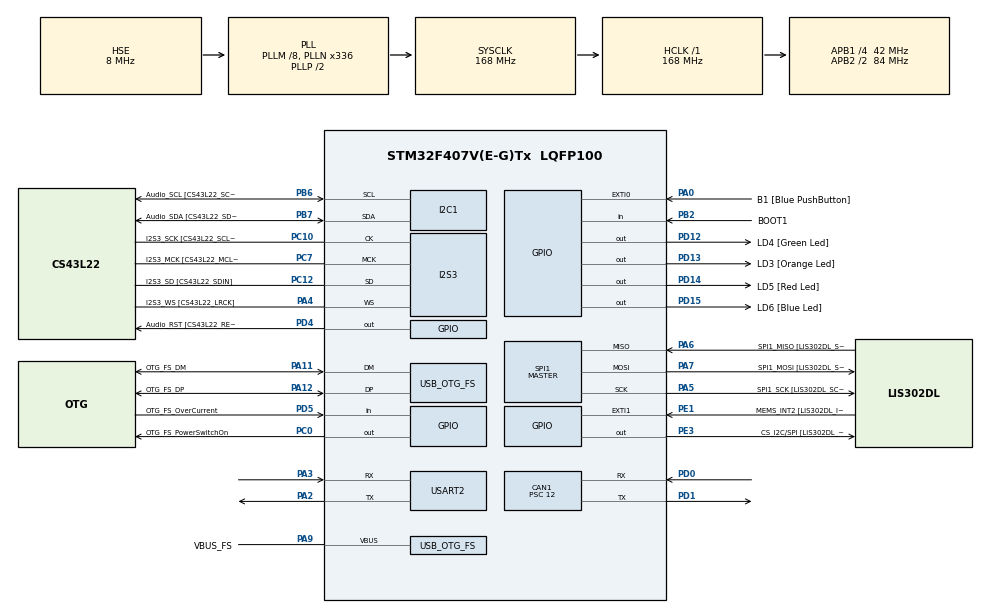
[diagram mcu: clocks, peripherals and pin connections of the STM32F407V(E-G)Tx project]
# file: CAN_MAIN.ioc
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CAN1.BS1=CAN_BS1_11TQ
CAN1.BS2=CAN_BS2_2TQ
CAN1.CalculateBaudRate=250000
CAN1.CalculateTimeBit=4000
CAN1.CalculateTimeQuantum=285.7142857142857
CAN1.Prescaler=12
I2S3.AudioFreq-Half_Duplex_Master=I2S_AUDIOFREQ_96K
I2S3.ErrorAudioFreq=-2.34 %
I2S3.ErrorAudioFreq-Half_Duplex_Master=0.8 %
I2S3.FullDuplexMode=I2S_FULLDUPLEXMODE_DISABLE
I2S3.Instance=SPI$Index
I2S3.RealAudioFreq=93.75 KHz
I2S3.RealAudioFreq-Half_Duplex_Master=96.774 KHz
I2S3.VirtualMode=I2S_MODE_MASTER
Mcu.Family=STM32F4
Mcu.Name=STM32F407V(E-G)Tx
Mcu.Package=LQFP100
NVIC.OTG_FS_IRQn=true\:0\:0\:false\:false\:true\:true\:true\:true
NVIC.PriorityGroup=NVIC_PRIORITYGROUP_0
PA0-WKUP.GPIO_Label=B1 [Blue PushButton]
PA0-WKUP.GPIO_ModeDefaultEXTI=GPIO_MODE_EVT_RISING
PA0-WKUP.GPIO_PuPd=GPIO_NOPULL
PA0-WKUP.Signal=GPXTI0
PA10.GPIO_Label=OTG_FS_ID
PA10.GPIO_Mode=GPIO_MODE_AF_PP
PA10.GPIO_PuPd=GPIO_NOPULL
PA10.GPIO_Speed=GPIO_SPEED_FREQ_LOW
PA10.Signal=USB_OTG_FS_ID
PA11.GPIO_Label=OTG_FS_DM
PA11.GPIO_Mode=GPIO_MODE_AF_PP
PA11.GPIO_PuPd=GPIO_NOPULL
PA11.GPIO_Speed=GPIO_SPEED_FREQ_LOW
PA11.Mode=Host_Only
PA11.Signal=USB_OTG_FS_DM
PA12.GPIO_Label=OTG_FS_DP
PA12.GPIO_Mode=GPIO_MODE_AF_PP
PA12.GPIO_PuPd=GPIO_NOPULL
PA12.GPIO_Speed=GPIO_SPEED_FREQ_LOW
PA12.Mode=Host_Only
PA12.Signal=USB_OTG_FS_DP
PA13.GPIO_Label=SWDIO
PA13.Mode=Serial_Wire
PA13.Signal=SYS_JTMS-SWDIO
PA14.GPIO_Label=SWCLK
PA14.Mode=Serial_Wire
PA14.Signal=SYS_JTCK-SWCLK
PA2.Mode=Asynchronous
PA2.Signal=USART2_TX
PA3.Mode=Asynchronous
PA3.Signal=USART2_RX
PA4.GPIO_Label=I2S3_WS [CS43L22_LRCK]
PA4.GPIO_Mode=GPIO_MODE_AF_PP
PA4.GPIO_PuPd=GPIO_NOPULL
PA4.GPIO_Speed=GPIO_SPEED_FREQ_LOW
PA4.Mode=Half_Duplex_Master
PA4.Signal=I2S3_WS
PA5.GPIO_Label=SPI1_SCK [LIS302DL_SCL/SPC]
PA5.GPIO_Mode=GPIO_MODE_AF_PP
PA5.GPIO_PuPd=GPIO_NOPULL
PA5.GPIO_Speed=GPIO_SPEED_FREQ_LOW
PA5.Mode=Full_Duplex_Master
PA5.Signal=SPI1_SCK
PA6.GPIO_Label=SPI1_MISO [LIS302DL_SDO]
PA6.GPIO_Mode=GPIO_MODE_AF_PP
PA6.GPIO_PuPd=GPIO_NOPULL
PA6.GPIO_Speed=GPIO_SPEED_FREQ_LOW
PA6.Mode=Full_Duplex_Master
PA6.Signal=SPI1_MISO
PA7.GPIO_Label=SPI1_MOSI [LIS302DL_SDA/SDI/SDO]
PA7.GPIO_Mode=GPIO_MODE_AF_PP
PA7.GPIO_PuPd=GPIO_NOPULL
PA7.GPIO_Speed=GPIO_SPEED_FREQ_LOW
PA7.Mode=Full_Duplex_Master
PA7.Signal=SPI1_MOSI
PA9.GPIO_Label=VBUS_FS
PA9.GPIO_Mode=GPIO_MODE_INPUT
PA9.GPIO_PuPd=GPIO_NOPULL
PA9.Mode=Activate_VBUS
PA9.Signal=USB_OTG_FS_VBUS
PB10.GPIO_Label=CLK_IN [MP45DT02_CLK]
PB10.GPIO_Mode=GPIO_MODE_AF_PP
PB10.GPIO_PuPd=GPIO_NOPULL
PB10.GPIO_Speed=GPIO_SPEED_FREQ_LOW
PB10.Signal=I2S2_CK
PB2.GPIO_Label=BOOT1
PB2.GPIO_Mode=GPIO_MODE_INPUT
PB2.GPIO_PuPd=GPIO_NOPULL
PB2.Signal=GPIO_Input
PB3.GPIO_Label=SWO
PB3.Signal=SYS_JTDO-SWO
PB6.GPIO_Label=Audio_SCL [CS43L22_SCL]
PB6.GPIO_Mode=GPIO_MODE_AF_OD
PB6.GPIO_Pu=GPIO_PULLUP
PB6.GPIO_PuPd=GPIO_NOPULL
PB6.GPIO_Speed=GPIO_SPEED_FREQ_LOW
PB6.Mode=I2C
PB6.Signal=I2C1_SCL
PB7.GPIO_Label=Audio_SDA [CS43L22_SDA]
PB7.GPIO_Mode=GPIO_MODE_AF_OD
PB7.GPIO_Pu=GPIO_PULLUP
PB7.GPIO_Speed=GPIO_SPEED_FREQ_LOW
PB7.Mode=I2C
PB7.Signal=I2C1_SDA
PC0.GPIO_Label=OTG_FS_PowerSwitchOn
PC0.GPIO_PuPd=GPIO_NOPULL
PC0.GPIO_Speed=GPIO_SPEED_FREQ_LOW
PC0.PinState=GPIO_PIN_SET
PC0.Signal=GPIO_Output
PC10.GPIO_Label=I2S3_SCK [CS43L22_SCLK]
PC10.GPIO_Mode=GPIO_MODE_AF_PP
PC10.GPIO_PuPd=GPIO_NOPULL
PC10.GPIO_Speed=GPIO_SPEED_FREQ_LOW
PC10.Mode=Half_Duplex_Master
PC10.Signal=I2S3_CK
PC12.GPIO_Label=I2S3_SD [CS43L22_SDIN]
PC12.GPIO_Mode=GPIO_MODE_AF_PP
PC12.GPIO_PuPd=GPIO_NOPULL
PC12.GPIO_Speed=GPIO_SPEED_FREQ_LOW
PC12.Mode=Half_Duplex_Master
PC12.Signal=I2S3_SD
PC14-OSC32_IN.GPIO_Label=PC14-OSC32_IN
PC14-OSC32_IN.Mode=LSE-External-Oscillator
PC14-OSC32_IN.Signal=RCC_OSC32_IN
PC15-OSC32_OUT.GPIO_Label=PC15-OSC32_OUT
PC15-OSC32_OUT.Mode=LSE-External-Oscillator
PC15-OSC32_OUT.Signal=RCC_OSC32_OUT
PC3.GPIO_Label=PDM_OUT [MP45DT02_DOUT]
PC3.GPIO_Mode=GPIO_MODE_AF_PP
PC3.GPIO_PuPd=GPIO_NOPULL
PC3.GPIO_Speed=GPIO_SPEED_FREQ_LOW
PC3.Signal=I2S2_SD
PC7.GPIO_Label=I2S3_MCK [CS43L22_MCLK]
PC7.GPIO_Mode=GPIO_MODE_AF_PP
PC7.GPIO_PuPd=GPIO_NOPULL
PC7.GPIO_Speed=GPIO_SPEED_FREQ_LOW
PC7.Mode=Master_Clock_Activated
PC7.Signal=I2S3_MCK
PD0.Mode=CAN_Activate
PD0.Signal=CAN1_RX
PD1.Mode=CAN_Activate
PD1.Signal=CAN1_TX
PD12.GPIO_Label=LD4 [Green Led]
PD12.GPIO_PuPd=GPIO_NOPULL
PD12.GPIO_Speed=GPIO_SPEED_FREQ_LOW
PD12.Signal=GPIO_Output
PD13.GPIO_Label=LD3 [Orange Led]
PD13.GPIO_PuPd=GPIO_NOPULL
PD13.GPIO_Speed=GPIO_SPEED_FREQ_LOW
PD13.Signal=GPIO_Output
PD14.GPIO_Label=LD5 [Red Led]
PD14.GPIO_PuPd=GPIO_NOPULL
PD14.GPIO_Speed=GPIO_SPEED_FREQ_LOW
PD14.Signal=GPIO_Output
PD15.GPIO_Label=LD6 [Blue Led]
PD15.GPIO_PuPd=GPIO_NOPULL
PD15.GPIO_Speed=GPIO_SPEED_FREQ_LOW
PD15.Signal=GPIO_Output
PD4.GPIO_Label=Audio_RST [CS43L22_RESET]
PD4.GPIO_PuPd=GPIO_NOPULL
PD4.GPIO_Speed=GPIO_SPEED_FREQ_LOW
PD4.Signal=GPIO_Output
PD5.GPIO_Label=OTG_FS_OverCurrent
PD5.GPIO_Mode=GPIO_MODE_INPUT
PD5.GPIO_PuPd=GPIO_NOPULL
PD5.Signal=GPIO_Input
PE1.GPIO_Label=MEMS_INT2 [LIS302DL_INT2]
PE1.GPIO_ModeDefaultEXTI=GPIO_MODE_EVT_RISING
PE1.GPIO_PuPd=GPIO_NOPULL
PE1.Signal=GPXTI1
PE3.GPIO_Label=CS_I2C/SPI [LIS302DL_CS_I2C/SPI]
PE3.GPIO_PuPd=GPIO_NOPULL
PE3.GPIO_Speed=GPIO_SPEED_FREQ_LOW
PE3.Signal=GPIO_Output
PH0-OSC_IN.GPIO_Label=PH0-OSC_IN
PH0-OSC_IN.Mode=HSE-External-Oscillator
PH0-OSC_IN.Signal=RCC_OSC_IN
PH1-OSC_OUT.GPIO_Label=PH1-OSC_OUT
PH1-OSC_OUT.Mode=HSE-External-Oscillator
PH1-OSC_OUT.Signal=RCC_OSC_OUT
ProjectManager.HeapSize=0x200
ProjectManager.StackSize=0x400
ProjectManager.TargetToolchain=STM32CubeIDE
RCC.48MHZClocksFreq_Value=48000000
RCC.AHBFreq_Value=168000000
RCC.APB1CLKDivider=RCC_HCLK_DIV4
RCC.APB1Freq_Value=42000000
RCC.APB1TimFreq_Value=84000000
RCC.APB2CLKDivider=RCC_HCLK_DIV2
RCC.APB2Freq_Value=84000000
RCC.APB2TimFreq_Value=168000000
RCC.CortexFreq_Value=168000000
RCC.HCLKFreq_Value=168000000
RCC.HSE_VALUE=8000000
RCC.HSI_VALUE=16000000
RCC.PLLM=8
RCC.PLLN=336
RCC.PLLQ=7
RCC.SYSCLKFreq_VALUE=168000000
RCC.SYSCLKSource=RCC_SYSCLKSOURCE_PLLCLK
RCC.VCOOutputFreq_Value=336000000
SPI1.BaudRatePrescaler-Full_Duplex_Master=SPI_BAUDRATEPRESCALER_2
SPI1.CalculateBaudRate-Full_Duplex_Master=42.0 MBits/s
SPI1.Direction=SPI_DIRECTION_2LINES
SPI1.Mode=SPI_MODE_MASTER
SPI1.Mode-Full_Duplex_Master=SPI_MODE_MASTER
SPI1.VirtualType=VM_MASTER
USART2.VirtualMode=VM_ASYNC
USB_HOST.BSP.number=1
USB_HOST.USBH_HandleTypeDef-CDC_FS=hUsbHostFS
USB_HOST.VirtualModeFS=Cdc
USB_HOST0.BSP.STBoard=false
USB_HOST0.BSP.api=Unknown
USB_HOST0.BSP.instance=PC0
USB_HOST0.BSP.ip=GPIO
USB_HOST0.BSP.mode=Output
USB_HOST0.BSP.name=Drive_VBUS_FS
USB_HOST0.BSP.solution=PC0
USB_OTG_FS.VirtualMode=Host_Only
USB_OTG_FS.phy_itface=HCD_PHY_EMBEDDED
VP_USB_HOST_VS_USB_HOST_CDC_FS.Mode=CDC_FS
board=STM32F407G-DISC1

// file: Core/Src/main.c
/* USER CODE BEGIN Header */
/**
  ******************************************************************************
  * @file           : main.c
  * @brief          : Main program body
  ******************************************************************************
  * @attention
  *
  * Copyright (c) 2025 STMicroelectronics.
  * All rights reserved.
  *
  * This software is licensed under terms that can be found in the LICENSE file
  * in the root directory of this software component.
  * If no LICENSE file comes with this software, it is provided AS-IS.
  *
  ******************************************************************************
  */
/* USER CODE END Header */
#include "main.h"
#include "usb_host.h"

/* USER CODE BEGIN Includes */
#include <string.h>
#include <stdio.h>
/* USER CODE END Includes */

CAN_HandleTypeDef hcan1;

I2C_HandleTypeDef hi2c1;

I2S_HandleTypeDef hi2s3;

SPI_HandleTypeDef hspi1;

UART_HandleTypeDef huart2;

/* USER CODE BEGIN PV */
CAN_RxHeaderTypeDef canRxHeader;
uint8_t             canRxData[8];

/* 디버깅/출력을 위한 변수 */
volatile float rx_heading_deg = 0.0f;
volatile float rx_roll_deg    = 0.0f;
volatile float rx_pitch_deg   = 0.0f;

char uart_tx_buf[128];

/* CAN 디버그용 카운터 */
volatile uint32_t g_can_rx_total   = 0;
volatile uint32_t g_can_rx_imu     = 0;
volatile uint32_t g_can_rx_error   = 0;
volatile uint32_t g_can_last_error = 0;
/* USER CODE END PV */

void SystemClock_Config(void);
static void MX_GPIO_Init(void);
static void MX_I2C1_Init(void);
static void MX_I2S3_Init(void);
static void MX_SPI1_Init(void);
static void MX_CAN1_Init(void);
static void MX_USART2_UART_Init(void);
void MX_USB_HOST_Process(void);

/* USER CODE BEGIN PFP */
void CAN1_Start_AllFilter(void);
void CAN_DebugPrint_Periodic(void);
void UART_SendIMU(float heading, float roll, float pitch);
/* USER CODE END PFP */

/* USER CODE BEGIN 0 */
void CAN1_Start_AllFilter(void)
{
    CAN_FilterTypeDef sFilterConfig;

    // 모든 ID 수신 (Mask=0)
    sFilterConfig.FilterBank = 0;
    sFilterConfig.FilterMode = CAN_FILTERMODE_IDMASK;
    sFilterConfig.FilterScale = CAN_FILTERSCALE_32BIT;
    sFilterConfig.FilterIdHigh = 0x0000;
    sFilterConfig.FilterIdLow  = 0x0000;
    sFilterConfig.FilterMaskIdHigh = 0x0000;
    sFilterConfig.FilterMaskIdLow  = 0x0000;
    sFilterConfig.FilterFIFOAssignment = CAN_FILTER_FIFO0;
    sFilterConfig.FilterActivation = ENABLE;
    sFilterConfig.SlaveStartFilterBank = 14;  // 단일 CAN이면 14 정도로 두면 됨

    if (HAL_CAN_ConfigFilter(&hcan1, &sFilterConfig) != HAL_OK)
    {
        Error_Handler();
    }

    if (HAL_CAN_Start(&hcan1) != HAL_OK)
    {
        Error_Handler();
    }
}
/* USER CODE END 0 */

int main(void)
{

  /* MCU Configuration--------------------------------------------------------*/

  /* Reset of all peripherals, Initializes the Flash interface and the Systick. */
  HAL_Init();

  /* Configure the system clock */
  SystemClock_Config();

  /* Initialize all configured peripherals */
  MX_GPIO_Init();
  MX_I2C1_Init();
  MX_I2S3_Init();
  MX_SPI1_Init();
  MX_USB_HOST_Init();
  MX_CAN1_Init();
  GPIO_InitTypeDef GPIO_InitStruct = {0};
  GPIO_InitStruct.Pin = GPIO_PIN_2;     // PA2 = USART2_TX
  GPIO_InitStruct.Mode = GPIO_MODE_INPUT;
  GPIO_InitStruct.Pull = GPIO_NOPULL;
  HAL_GPIO_Init(GPIOA, &GPIO_InitStruct);
  HAL_Delay(5000);
  MX_USART2_UART_Init();
  /* USER CODE BEGIN 2 */
  CAN1_Start_AllFilter();
  HAL_GPIO_WritePin(GPIOD, LD4_Pin, GPIO_PIN_SET);
  const char *boot_msg = "\r\n[BOOT] STM32 IMU+CAN UART test start\r\n";
  HAL_UART_Transmit(&huart2, (uint8_t*)boot_msg, strlen(boot_msg), HAL_MAX_DELAY);
  HAL_GPIO_WritePin(GPIOD, LD3_Pin, GPIO_PIN_SET);
  /* USER CODE END 2 */

  /* Infinite loop */
  /* USER CODE BEGIN WHILE */
  while (1)
  {
      MX_USB_HOST_Process();

      // ① FIFO0에 수신된 메시지가 있는지 확인
      if (HAL_CAN_GetRxFifoFillLevel(&hcan1, CAN_RX_FIFO0) > 0)
      {
          HAL_StatusTypeDef st = HAL_CAN_GetRxMessage(&hcan1,
                                                      CAN_RX_FIFO0,
                                                      &canRxHeader,
                                                      canRxData);
          if (st == HAL_OK)
          {
              g_can_rx_total++;   // 전체 수신 카운터 증가

              // 표준 ID 0x100, DLC>=6 인 프레임만 IMU 데이터로 처리
              if ((canRxHeader.IDE == CAN_ID_STD) &&
                  (canRxHeader.StdId == 0x100) &&
                  (canRxHeader.DLC  >= 6))
              {
                  g_can_rx_imu++;  // IMU 수신 카운터

                  // little-endian int16_t 복원
                  int16_t yaw_centi   = (int16_t)(canRxData[0] | (canRxData[1] << 8));
                  int16_t roll_centi  = (int16_t)(canRxData[2] | (canRxData[3] << 8));
                  int16_t pitch_centi = (int16_t)(canRxData[4] | (canRxData[5] << 8));

                  rx_heading_deg = yaw_centi   / 100.0f;
                  rx_roll_deg    = roll_centi  / 100.0f;
                  rx_pitch_deg   = pitch_centi / 100.0f;

                  // UART로 출력 + LED 토글
                  UART_SendIMU(rx_heading_deg, rx_roll_deg, rx_pitch_deg);
              }
              else
              {
                  // ID나 DLC가 기대와 다를 때 디버그용
                  g_can_rx_error++;
              }
          }
          else
          {
              // GetRxMessage 자체가 실패했을 때
              g_can_rx_error++;
              g_can_last_error = HAL_CAN_GetError(&hcan1);

              int len = snprintf(uart_tx_buf, sizeof(uart_tx_buf),
                                 "[CAN RX ERR] st=%ld, err=0x%08lX\r\n",
                                 (long)st, (unsigned long)g_can_last_error);
              HAL_UART_Transmit(&huart2, (uint8_t*)uart_tx_buf, len, HAL_MAX_DELAY);
          }
      }

      // ② 1초마다 CAN 상태 출력
      CAN_DebugPrint_Periodic();
  }
  /* USER CODE END 3 */
  /* USER CODE END 3 */
}

void SystemClock_Config(void)
{
  RCC_OscInitTypeDef RCC_OscInitStruct = {0};
  RCC_ClkInitTypeDef RCC_ClkInitStruct = {0};

  /** Configure the main internal regulator output voltage
  */
  __HAL_RCC_PWR_CLK_ENABLE();
  __HAL_PWR_VOLTAGESCALING_CONFIG(PWR_REGULATOR_VOLTAGE_SCALE1);

  /** Initializes the RCC Oscillators according to the specified parameters
  * in the RCC_OscInitTypeDef structure.
  */
  RCC_OscInitStruct.OscillatorType = RCC_OSCILLATORTYPE_HSE;
  RCC_OscInitStruct.HSEState = RCC_HSE_ON;
  RCC_OscInitStruct.PLL.PLLState = RCC_PLL_ON;
  RCC_OscInitStruct.PLL.PLLSource = RCC_PLLSOURCE_HSE;
  RCC_OscInitStruct.PLL.PLLM = 8;
  RCC_OscInitStruct.PLL.PLLN = 336;
  RCC_OscInitStruct.PLL.PLLP = RCC_PLLP_DIV2;
  RCC_OscInitStruct.PLL.PLLQ = 7;
  if (HAL_RCC_OscConfig(&RCC_OscInitStruct) != HAL_OK)
  {
    Error_Handler();
  }

  /** Initializes the CPU, AHB and APB buses clocks
  */
  RCC_ClkInitStruct.ClockType = RCC_CLOCKTYPE_HCLK|RCC_CLOCKTYPE_SYSCLK
                              |RCC_CLOCKTYPE_PCLK1|RCC_CLOCKTYPE_PCLK2;
  RCC_ClkInitStruct.SYSCLKSource = RCC_SYSCLKSOURCE_PLLCLK;
  RCC_ClkInitStruct.AHBCLKDivider = RCC_SYSCLK_DIV1;
  RCC_ClkInitStruct.APB1CLKDivider = RCC_HCLK_DIV4;
  RCC_ClkInitStruct.APB2CLKDivider = RCC_HCLK_DIV2;

  if (HAL_RCC_ClockConfig(&RCC_ClkInitStruct, FLASH_LATENCY_5) != HAL_OK)
  {
    Error_Handler();
  }
}

static void MX_CAN1_Init(void)
{

  hcan1.Instance = CAN1;
  hcan1.Init.Prescaler = 12;
  hcan1.Init.Mode = CAN_MODE_NORMAL;
  hcan1.Init.SyncJumpWidth = CAN_SJW_1TQ;
  hcan1.Init.TimeSeg1 = CAN_BS1_11TQ;
  hcan1.Init.TimeSeg2 = CAN_BS2_2TQ;
  hcan1.Init.TimeTriggeredMode = DISABLE;
  hcan1.Init.AutoBusOff = DISABLE;
  hcan1.Init.AutoWakeUp = DISABLE;
  hcan1.Init.AutoRetransmission = DISABLE;
  hcan1.Init.ReceiveFifoLocked = DISABLE;
  hcan1.Init.TransmitFifoPriority = DISABLE;
  if (HAL_CAN_Init(&hcan1) != HAL_OK)
  {
    Error_Handler();
  }

}

static void MX_I2C1_Init(void)
{

  hi2c1.Instance = I2C1;
  hi2c1.Init.ClockSpeed = 100000;
  hi2c1.Init.DutyCycle = I2C_DUTYCYCLE_2;
  hi2c1.Init.OwnAddress1 = 0;
  hi2c1.Init.AddressingMode = I2C_ADDRESSINGMODE_7BIT;
  hi2c1.Init.DualAddressMode = I2C_DUALADDRESS_DISABLE;
  hi2c1.Init.OwnAddress2 = 0;
  hi2c1.Init.GeneralCallMode = I2C_GENERALCALL_DISABLE;
  hi2c1.Init.NoStretchMode = I2C_NOSTRETCH_DISABLE;
  if (HAL_I2C_Init(&hi2c1) != HAL_OK)
  {
    Error_Handler();
  }

}

static void MX_I2S3_Init(void)
{

  hi2s3.Instance = SPI3;
  hi2s3.Init.Mode = I2S_MODE_MASTER_TX;
  hi2s3.Init.Standard = I2S_STANDARD_PHILIPS;
  hi2s3.Init.DataFormat = I2S_DATAFORMAT_16B;
  hi2s3.Init.MCLKOutput = I2S_MCLKOUTPUT_ENABLE;
  hi2s3.Init.AudioFreq = I2S_AUDIOFREQ_96K;
  hi2s3.Init.CPOL = I2S_CPOL_LOW;
  hi2s3.Init.ClockSource = I2S_CLOCK_PLL;
  hi2s3.Init.FullDuplexMode = I2S_FULLDUPLEXMODE_DISABLE;
  if (HAL_I2S_Init(&hi2s3) != HAL_OK)
  {
    Error_Handler();
  }

}

static void MX_SPI1_Init(void)
{

  /* SPI1 parameter configuration*/
  hspi1.Instance = SPI1;
  hspi1.Init.Mode = SPI_MODE_MASTER;
  hspi1.Init.Direction = SPI_DIRECTION_2LINES;
  hspi1.Init.DataSize = SPI_DATASIZE_8BIT;
  hspi1.Init.CLKPolarity = SPI_POLARITY_LOW;
  hspi1.Init.CLKPhase = SPI_PHASE_1EDGE;
  hspi1.Init.NSS = SPI_NSS_SOFT;
  hspi1.Init.BaudRatePrescaler = SPI_BAUDRATEPRESCALER_2;
  hspi1.Init.FirstBit = SPI_FIRSTBIT_MSB;
  hspi1.Init.TIMode = SPI_TIMODE_DISABLE;
  hspi1.Init.CRCCalculation = SPI_CRCCALCULATION_DISABLE;
  hspi1.Init.CRCPolynomial = 10;
  if (HAL_SPI_Init(&hspi1) != HAL_OK)
  {
    Error_Handler();
  }

}

static void MX_USART2_UART_Init(void)
{

  huart2.Instance = USART2;
  huart2.Init.BaudRate = 115200;
  huart2.Init.WordLength = UART_WORDLENGTH_8B;
  huart2.Init.StopBits = UART_STOPBITS_1;
  huart2.Init.Parity = UART_PARITY_NONE;
  huart2.Init.Mode = UART_MODE_TX_RX;
  huart2.Init.HwFlowCtl = UART_HWCONTROL_NONE;
  huart2.Init.OverSampling = UART_OVERSAMPLING_16;
  if (HAL_UART_Init(&huart2) != HAL_OK)
  {
    Error_Handler();
  }

}

static void MX_GPIO_Init(void)
{
  GPIO_InitTypeDef GPIO_InitStruct = {0};

  /* GPIO Ports Clock Enable */
  __HAL_RCC_GPIOE_CLK_ENABLE();
  __HAL_RCC_GPIOC_CLK_ENABLE();
  __HAL_RCC_GPIOH_CLK_ENABLE();
  __HAL_RCC_GPIOA_CLK_ENABLE();
  __HAL_RCC_GPIOB_CLK_ENABLE();
  __HAL_RCC_GPIOD_CLK_ENABLE();

  /*Configure GPIO pin Output Level */
  HAL_GPIO_WritePin(CS_I2C_SPI_GPIO_Port, CS_I2C_SPI_Pin, GPIO_PIN_RESET);

  /*Configure GPIO pin Output Level */
  HAL_GPIO_WritePin(OTG_FS_PowerSwitchOn_GPIO_Port, OTG_FS_PowerSwitchOn_Pin, GPIO_PIN_SET);

  /*Configure GPIO pin Output Level */
  HAL_GPIO_WritePin(GPIOD, LD4_Pin|LD3_Pin|LD5_Pin|LD6_Pin
                          |Audio_RST_Pin, GPIO_PIN_RESET);

  /*Configure GPIO pin : CS_I2C_SPI_Pin */
  GPIO_InitStruct.Pin = CS_I2C_SPI_Pin;
  GPIO_InitStruct.Mode = GPIO_MODE_OUTPUT_PP;
  GPIO_InitStruct.Pull = GPIO_NOPULL;
  GPIO_InitStruct.Speed = GPIO_SPEED_FREQ_LOW;
  HAL_GPIO_Init(CS_I2C_SPI_GPIO_Port, &GPIO_InitStruct);

  /*Configure GPIO pin : OTG_FS_PowerSwitchOn_Pin */
  GPIO_InitStruct.Pin = OTG_FS_PowerSwitchOn_Pin;
  GPIO_InitStruct.Mode = GPIO_MODE_OUTPUT_PP;
  GPIO_InitStruct.Pull = GPIO_NOPULL;
  GPIO_InitStruct.Speed = GPIO_SPEED_FREQ_LOW;
  HAL_GPIO_Init(OTG_FS_PowerSwitchOn_GPIO_Port, &GPIO_InitStruct);

  /*Configure GPIO pin : PDM_OUT_Pin */
  GPIO_InitStruct.Pin = PDM_OUT_Pin;
  GPIO_InitStruct.Mode = GPIO_MODE_AF_PP;
  GPIO_InitStruct.Pull = GPIO_NOPULL;
  GPIO_InitStruct.Speed = GPIO_SPEED_FREQ_LOW;
  GPIO_InitStruct.Alternate = GPIO_AF5_SPI2;
  HAL_GPIO_Init(PDM_OUT_GPIO_Port, &GPIO_InitStruct);

  /*Configure GPIO pin : B1_Pin */
  GPIO_InitStruct.Pin = B1_Pin;
  GPIO_InitStruct.Mode = GPIO_MODE_EVT_RISING;
  GPIO_InitStruct.Pull = GPIO_NOPULL;
  HAL_GPIO_Init(B1_GPIO_Port, &GPIO_InitStruct);

  /*Configure GPIO pin : BOOT1_Pin */
  GPIO_InitStruct.Pin = BOOT1_Pin;
  GPIO_InitStruct.Mode = GPIO_MODE_INPUT;
  GPIO_InitStruct.Pull = GPIO_NOPULL;
  HAL_GPIO_Init(BOOT1_GPIO_Port, &GPIO_InitStruct);

  /*Configure GPIO pin : CLK_IN_Pin */
  GPIO_InitStruct.Pin = CLK_IN_Pin;
  GPIO_InitStruct.Mode = GPIO_MODE_AF_PP;
  GPIO_InitStruct.Pull = GPIO_NOPULL;
  GPIO_InitStruct.Speed = GPIO_SPEED_FREQ_LOW;
  GPIO_InitStruct.Alternate = GPIO_AF5_SPI2;
  HAL_GPIO_Init(CLK_IN_GPIO_Port, &GPIO_InitStruct);

  /*Configure GPIO pins : LD4_Pin LD3_Pin LD5_Pin LD6_Pin
                           Audio_RST_Pin */
  GPIO_InitStruct.Pin = LD4_Pin|LD3_Pin|LD5_Pin|LD6_Pin
                          |Audio_RST_Pin;
  GPIO_InitStruct.Mode = GPIO_MODE_OUTPUT_PP;
  GPIO_InitStruct.Pull = GPIO_NOPULL;
  GPIO_InitStruct.Speed = GPIO_SPEED_FREQ_LOW;
  HAL_GPIO_Init(GPIOD, &GPIO_InitStruct);

  /*Configure GPIO pin : OTG_FS_OverCurrent_Pin */
  GPIO_InitStruct.Pin = OTG_FS_OverCurrent_Pin;
  GPIO_InitStruct.Mode = GPIO_MODE_INPUT;
  GPIO_InitStruct.Pull = GPIO_NOPULL;
  HAL_GPIO_Init(OTG_FS_OverCurrent_GPIO_Port, &GPIO_InitStruct);

  /*Configure GPIO pin : MEMS_INT2_Pin */
  GPIO_InitStruct.Pin = MEMS_INT2_Pin;
  GPIO_InitStruct.Mode = GPIO_MODE_EVT_RISING;
  GPIO_InitStruct.Pull = GPIO_NOPULL;
  HAL_GPIO_Init(MEMS_INT2_GPIO_Port, &GPIO_InitStruct);

}

/* USER CODE BEGIN 4 */
void CAN_DebugPrint_Periodic(void)
{
    static uint32_t last_tick = 0;
    uint32_t now = HAL_GetTick();

    if (now - last_tick < 1000)
        return;

    last_tick = now;

    HAL_CAN_StateTypeDef st = HAL_CAN_GetState(&hcan1);
    uint32_t err = HAL_CAN_GetError(&hcan1);

    int len = snprintf(uart_tx_buf, sizeof(uart_tx_buf),
                       "[CAN] state=%ld, err=0x%08lX, rx_total=%lu, rx_imu=%lu, rx_err=%lu\r\n",
                       (long)st,
                       (unsigned long)err,
                       (unsigned long)g_can_rx_total,
                       (unsigned long)g_can_rx_imu,
                       (unsigned long)g_can_rx_error);
    HAL_UART_Transmit(&huart2, (uint8_t*)uart_tx_buf, len, HAL_MAX_DELAY);
}

void UART_SendIMU(float heading, float roll, float pitch)
{
	HAL_GPIO_TogglePin(GPIOD, LD6_Pin);
    int len = snprintf(uart_tx_buf, sizeof(uart_tx_buf),
                       "H:%.2f,R:%.2f,P:%.2f\r\n",
                       heading, roll, pitch);

    HAL_UART_Transmit(&huart2, (uint8_t*)uart_tx_buf, len, HAL_MAX_DELAY);
}
/* USER CODE END 4 */

void Error_Handler(void)
{
  __disable_irq();
  while (1)
  {
  }
}
